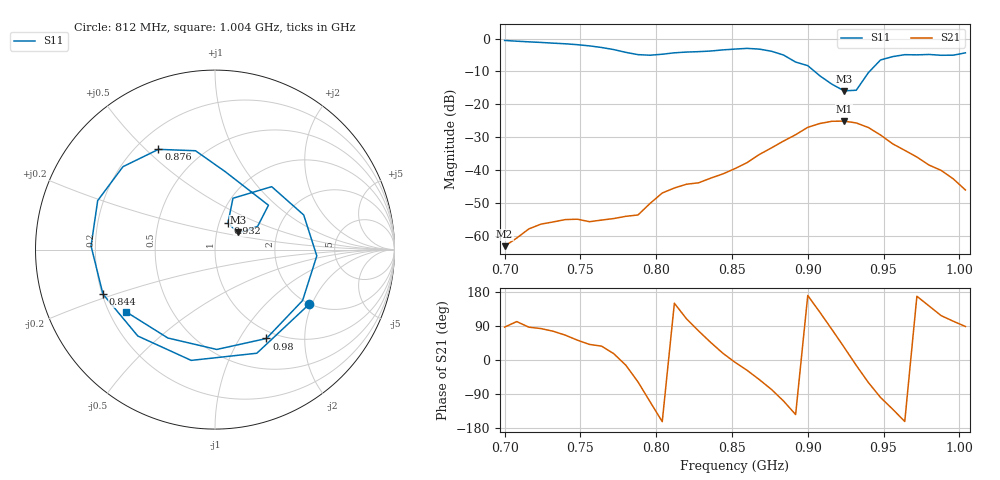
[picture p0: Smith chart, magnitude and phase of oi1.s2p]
# Hz S RI R 50
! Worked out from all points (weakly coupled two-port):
!   39 points, 700 MHz to 1.004 GHz, reference 50 ohm
!   highest |S21| = -25.10 dB at 924 MHz (marker M1); lowest = -63.1 dB at 700 MHz (marker M2)
!   lowest |S11| = -15.9 dB at 924 MHz (marker M3), VSWR 1.38, Z = 63.4 + j12.4 ohm
!   |S11| at or under -10 dB: 904.5 MHz to 940.8 MHz (36.24 MHz wide, 3.93 % of centre)
!   S12 and S22 are empty: the file has one direction only
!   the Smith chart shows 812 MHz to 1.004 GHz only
!   S11 on the Smith chart (normalised r, x): 812 MHz: 1.97, -1.91; 844 MHz: 0.20, -0.18; 876 MHz: 0.29, +0.55; 932 MHz: 1.10, +0.33; 980 MHz: 0.89, -1.31; 1.004 GHz: 0.27, -0.29
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7e8  0.769 0.5303  4.01e-05 0.000699  0 0  0 0
7.24e8  0.8302 -0.2654  0.000187 0.0015  0 0  0 0
7.4e8  0.4442 -0.7032  0.000732 0.00162  0 0  0 0
7.56e8  -0.1988 -0.7469  0.00124 0.00108  0 0  0 0
7.72e8  -0.6525 -0.1881  0.00176 0.00053  0 0  0 0
7.8e8  -0.5706 0.2311  0.00193 -0.000476  0 0  0 0
7.88e8  -0.2186 0.5251  0.00111 -0.00176  0 0  0 0
7.96e8  0.2605 0.4926  -0.00109 -0.00293  0 0  0 0
8.04e8  0.5615 0.1336  -0.0043 -0.00133  0 0  0 0
8.12e8  0.5232 -0.3057  -0.00463 0.0027  0 0  0 0
8.28e8  -0.1326 -0.6173  0.00149 0.00625  0 0  0 0
8.44e8  -0.6243 -0.2478  0.00835 0.00268  0 0  0 0
8.52e8  -0.6906 0.0202  0.0105 -0.00111  0 0  0 0
8.76e8  -0.3148 0.5586  0.00472 -0.0212  0 0  0 0
9e8  0.2979 0.2472  -0.0441 0.0076  0 0  0 0
9.08e8  0.2377 0.1299  -0.03 0.0414  0 0  0 0
9.24e8  0.1288 0.0956  0.0463 0.0307  0 0  0 0
9.32e8  0.0724 0.1469  0.0506 -0.0128  0 0  0 0
9.48e8  0.3159 0.3506  -0.00521 -0.0338  0 0  0 0
9.56e8  0.4943 0.1928  -0.0161 -0.0193  0 0  0 0
9.8e8  0.2864 -0.4953  -0.00951 0.00725  0 0  0 0
1.004e9  -0.4966 -0.346  0.000134 0.005  0 0  0 0
